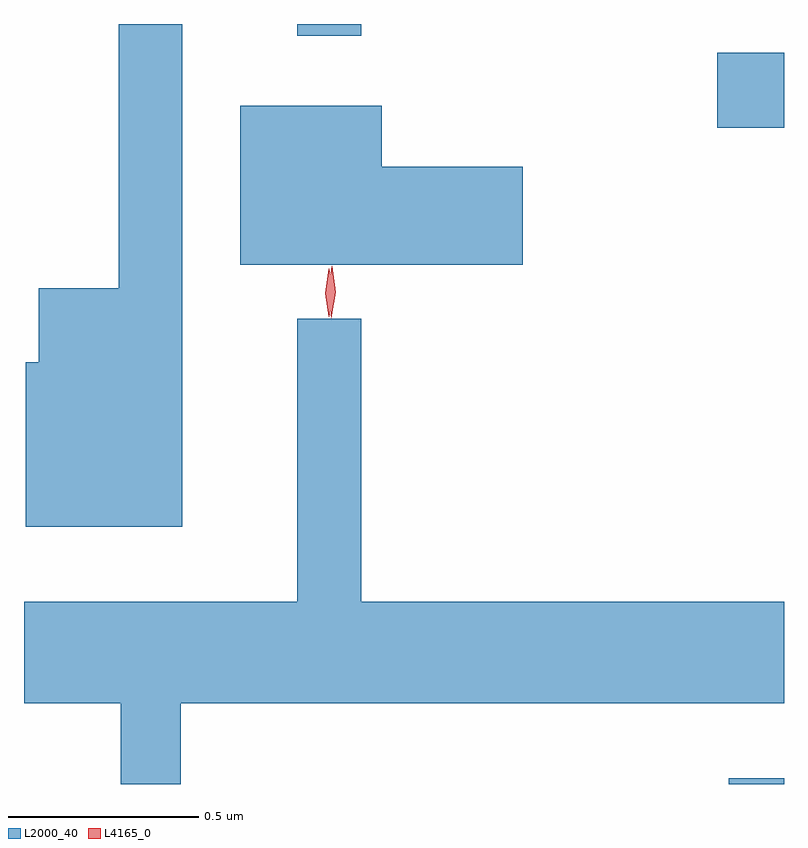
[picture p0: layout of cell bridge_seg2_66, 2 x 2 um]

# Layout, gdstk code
import gdstk
lib = gdstk.Library(unit=1e-6, precision=1e-09)
def R(c, l, rs):  # rectangles x0, y0, x1, y1
    for r in rs: c.add(gdstk.rectangle(r[:2], r[2:], *l))
def P(c, l, *ps):  # polygons
    for p in ps: c.add(gdstk.Polygon(p, *l))
L2000_40 = (2000, 40)
L4165_0 = (4165, 0)

bridge_seg2_66 = lib.new_cell('bridge_seg2_66')
R(bridge_seg2_66, L2000_40, [(1124.386,1074.744,1124.532,1074.759), (1124.356,1076.471,1124.532,1076.669), (1123.251,1076.713,1123.419,1076.744)])
P(bridge_seg2_66, L2000_40, [(1122.949,1076.744),(1122.781,1076.744),(1122.781,1076.049),(1122.571,1076.049),(1122.571,1075.854),(1122.536,1075.854),(1122.536,1075.421),(1122.949,1075.421)],
  [(1123.844,1076.369),(1123.474,1076.369),(1123.474,1076.529),(1123.101,1076.529),(1123.101,1076.111),(1123.844,1076.111)],
  [(1122.944,1074.956),(1124.532,1074.956),(1124.532,1075.224),(1123.419,1075.224),(1123.419,1075.968),(1123.251,1075.968),(1123.251,1075.224),(1122.532,1075.224),(1122.532,1074.956),(1122.786,1074.956),(1122.786,1074.744),(1122.944,1074.744)])
P(bridge_seg2_66, L4165_0, [(1123.34,1075.97),(1123.332,1076.038),(1123.342,1076.106),(1123.342,1076.106),(1123.343,1076.106),(1123.352,1076.038),(1123.341,1075.97),(1123.341,1075.97)],
  [(1123.335,1075.973),(1123.334,1075.974),(1123.325,1076.036),(1123.334,1076.1),(1123.334,1076.1),(1123.335,1076.1),(1123.345,1076.036),(1123.335,1075.974)])

lib.write_gds('bridge_seg2_66.gds')
